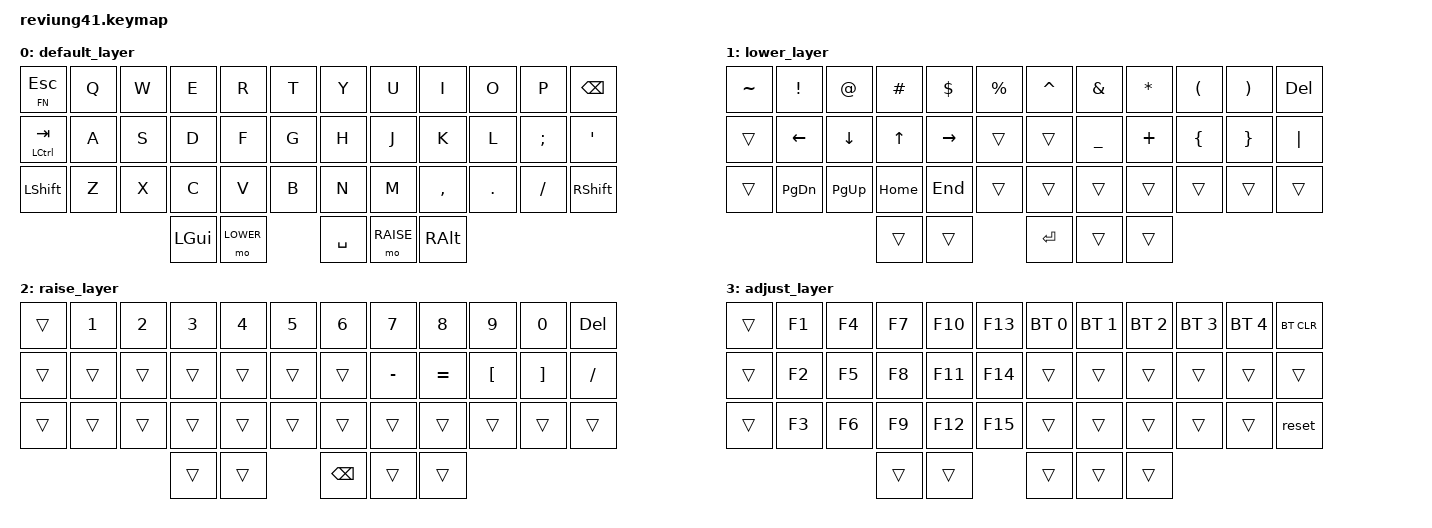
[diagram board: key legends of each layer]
/*
 * Copyright (c) 2020 The ZMK Contributors
 *
 * SPDX-License-Identifier: MIT
 */

#include <behaviors.dtsi>
#include <dt-bindings/zmk/keys.h>
#include <dt-bindings/zmk/bt.h>
#include <dt-bindings/zmk/rgb.h>

#define DEFAULT 0
#define LOWER 1
#define RAISE 2
#define FN 3

/ {
        keymap {
                compatible = "zmk,keymap";

                default_layer {
// -------------------------------------------------------------------------------------
// |  TAB |  Q  |  W  |  E  |  R  |  T  |   |  Y  |  U   |  I  |  O  |  P  |   BKSP    |
// | CTRL |  A  |  S  |  D  |  F  |  G  |   |  H  |  J   |  K  |  L  |  ;  |    '      |
// | SHFT |  Z  |  X  |  C  |  V  |  B  |   |  N  |  M   |  ,  |  .  |  /  | SHFT(RET) |
//                         | ALT | LWR | SPC | RSE  | ALT |
                        bindings = <
   &lt FN ESC   &kp Q &kp W &kp E &kp R &kp T   &kp Y &kp U  &kp I     &kp O   &kp P    &kp BSPC
   &mt LCTRL TAB &kp A &kp S &kp D &kp F &kp G   &kp H &kp J  &kp K     &kp L   &kp SEMI &kp SQT
   &kp LSHFT &kp Z &kp X &kp C &kp V &kp B   &kp N &kp M  &kp COMMA &kp DOT &kp FSLH &kp RSHFT
                        &kp LGUI  &mo LOWER &kp SPACE &mo RAISE  &kp RALT
                        >;
                };

                lower_layer {
// ----------------------------------------------------------------------------------
// |    |  !  |  @  |  #  |  $  |  %  |   |  ^  |  &  |  *  |  (  |  )  |    DEL    |
// |    |  _  |  +  |  {  |  }  | "|" |   | LFT | DWN |  UP | RGT |  `  |     ~     |
// |    | ESC | GUI | ALT | CAPS|  "  |   | HOME| END | PGUP| PGDN| PRSC| SHFT(RET) |
//                       |     |     | RET | ADJ |     |
                        bindings = <
   &kp TILDE &kp EXCL  &kp AT  &kp HASH &kp DLLR &kp PRCNT      &kp CARET  &kp AMPS  &kp ASTERISK    &kp LPAR  &kp RPAR  &kp DEL
   &trans &kp LEFT &kp DOWN &kp UP &kp RIGHT &trans          &trans  &kp UNDER &kp PLUS   &kp LBRC &kp RBRC &kp PIPE
   &trans &kp PG_DN  &kp PG_UP  &kp HOME &kp END &trans        &trans &trans  &trans &trans &trans &trans
                                 &trans      &trans       &kp RET        &trans      &trans
                        >;
                };

                raise_layer {
// -----------------------------------------------------------------------------------------
// |    |  1  |  2  |  3  |  4  |  5  |   |  6  |  7  |  8  |  9  |  0  | DEL |
// |    |  -  |  =  |  [  |  ]  |  \  |   | F1  | F2  | F3  | F4  | F5  | F6  |
// |    | ESC | GUI | ALT | CAPS|  "  |   | F7  | F8  | F9  | F10 | F11 | F12 |
//                       |     | ADJ | BKSP |    |     |
                        bindings = <
   &trans &kp N1    &kp N2    &kp N3    &kp N4    &kp N5        &kp N6    &kp N7    &kp N8    &kp N9    &kp N0    &kp DEL
   &trans &trans &trans &trans  &trans  &trans     &trans       &kp MINUS    &kp EQUAL    &kp LBKT   &kp RBKT    &kp SLASH
   &trans &trans   &trans  &trans &trans  &trans       &trans   &trans    &trans    &trans   &trans    &trans
                                &trans      &trans      &kp BSPC        &trans      &trans
                        >;
                };

                adjust_layer {
// -----------------------------------------------------------------------------------------
// | RGB BRI+ | RGB SAT+ | RGB HUE+ | RGB ANI+ |    | RGB TOG |   |  BT1  | BT2 | BT3 | BT4 | BT5 | BT CLR |
// | RGB BRI- | RGB SAT- | RGB HUE- | RGB ANI- |    |         |   |       |     |     |     |     |        |
// |          |          |          |          |    |         |   | RESET |     |     |     |     |        |
//                                              |     |     |     |     |     |
                        bindings = <
   &trans &kp F1 &kp F4  &kp F7  &kp F10 &kp F13   &bt BT_SEL 0 &bt BT_SEL 1 &bt BT_SEL 2 &bt BT_SEL 3 &bt BT_SEL 4 &bt BT_CLR
   &trans &kp F2 &kp F5  &kp F8  &kp F11 &kp F14    &trans       &trans       &trans       &trans       &trans       &trans
   &trans &kp F3 &kp F6  &kp F9  &kp F12 &kp F15  &trans       &trans       &trans       &trans       &trans       &reset
                         &trans      &trans       &trans        &trans      &trans
                        >;
                };
        };
};
